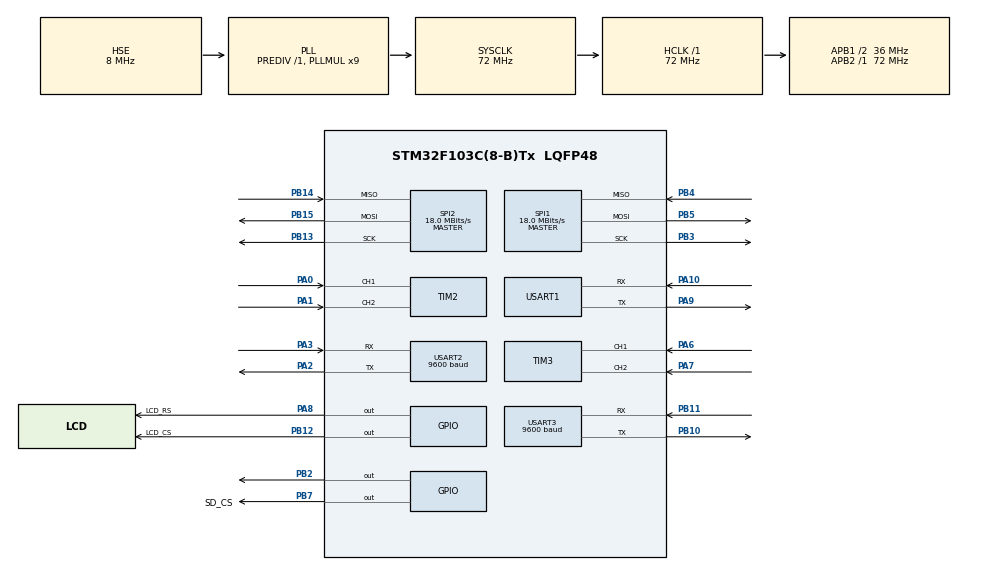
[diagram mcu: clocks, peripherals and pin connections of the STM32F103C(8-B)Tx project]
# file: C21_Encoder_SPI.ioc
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Dma.Request0=USART1_RX
Dma.Request1=USART1_TX
Dma.USART1_RX.0.Direction=DMA_PERIPH_TO_MEMORY
Dma.USART1_RX.0.Instance=DMA1_Channel5
Dma.USART1_RX.0.MemDataAlignment=DMA_MDATAALIGN_BYTE
Dma.USART1_RX.0.MemInc=DMA_MINC_ENABLE
Dma.USART1_RX.0.Mode=DMA_NORMAL
Dma.USART1_RX.0.PeriphDataAlignment=DMA_PDATAALIGN_BYTE
Dma.USART1_RX.0.PeriphInc=DMA_PINC_DISABLE
Dma.USART1_RX.0.Priority=DMA_PRIORITY_LOW
Dma.USART1_TX.1.Direction=DMA_MEMORY_TO_PERIPH
Dma.USART1_TX.1.Instance=DMA1_Channel4
Dma.USART1_TX.1.MemDataAlignment=DMA_MDATAALIGN_BYTE
Dma.USART1_TX.1.MemInc=DMA_MINC_ENABLE
Dma.USART1_TX.1.Mode=DMA_NORMAL
Dma.USART1_TX.1.PeriphDataAlignment=DMA_PDATAALIGN_BYTE
Dma.USART1_TX.1.PeriphInc=DMA_PINC_DISABLE
Dma.USART1_TX.1.Priority=DMA_PRIORITY_LOW
FATFS._FS_TINY=1
FATFS._MAX_SS=4096
FATFS._USE_LFN=1
Mcu.Family=STM32F1
Mcu.Name=STM32F103C(8-B)Tx
Mcu.Package=LQFP48
NVIC.DMA1_Channel4_IRQn=true\:0\:0\:false\:false\:true\:false\:true
NVIC.DMA1_Channel5_IRQn=true\:0\:0\:false\:false\:true\:false\:true
NVIC.PriorityGroup=NVIC_PRIORITYGROUP_4
NVIC.USART2_IRQn=true\:0\:0\:false\:false\:true\:true\:true
NVIC.USART3_IRQn=true\:0\:0\:false\:false\:true\:true\:true
PA0-WKUP.Signal=S_TIM2_CH1_ETR
PA1.Signal=S_TIM2_CH2
PA10.Mode=Asynchronous
PA10.Signal=USART1_RX
PA13.Mode=Serial_Wire
PA13.Signal=SYS_JTMS-SWDIO
PA14.Mode=Serial_Wire
PA14.Signal=SYS_JTCK-SWCLK
PA2.Mode=Asynchronous
PA2.Signal=USART2_TX
PA3.Mode=Asynchronous
PA3.Signal=USART2_RX
PA6.Signal=S_TIM3_CH1
PA7.Signal=S_TIM3_CH2
PA8.GPIO_Label=LCD_RS
PA8.Signal=GPIO_Output
PA9.Mode=Asynchronous
PA9.Signal=USART1_TX
PB10.Mode=Asynchronous
PB10.Signal=USART3_TX
PB11.Mode=Asynchronous
PB11.Signal=USART3_RX
PB12.GPIO_Label=LCD_CS
PB12.Signal=GPIO_Output
PB13.Mode=Full_Duplex_Master
PB13.Signal=SPI2_SCK
PB14.Mode=Full_Duplex_Master
PB14.Signal=SPI2_MISO
PB15.Mode=Full_Duplex_Master
PB15.Signal=SPI2_MOSI
PB2.Signal=GPIO_Output
PB3.Mode=Full_Duplex_Master
PB3.Signal=SPI1_SCK
PB4.Mode=Full_Duplex_Master
PB4.Signal=SPI1_MISO
PB5.Mode=Full_Duplex_Master
PB5.Signal=SPI1_MOSI
PB7.GPIO_Label=SD_CS
PB7.Signal=GPIO_Output
PD0-OSC_IN.Mode=HSE-External-Oscillator
PD0-OSC_IN.Signal=RCC_OSC_IN
PD1-OSC_OUT.Mode=HSE-External-Oscillator
PD1-OSC_OUT.Signal=RCC_OSC_OUT
ProjectManager.HeapSize=0x200
ProjectManager.StackSize=0x400
ProjectManager.TargetToolchain=STM32CubeIDE
RCC.AHBFreq_Value=72000000
RCC.APB1CLKDivider=RCC_HCLK_DIV2
RCC.APB1Freq_Value=36000000
RCC.APB1TimFreq_Value=72000000
RCC.APB2Freq_Value=72000000
RCC.APB2TimFreq_Value=72000000
RCC.HCLKFreq_Value=72000000
RCC.PLLMUL=RCC_PLL_MUL9
RCC.PLLSourceVirtual=RCC_PLLSOURCE_HSE
RCC.SYSCLKFreq_VALUE=72000000
RCC.SYSCLKSource=RCC_SYSCLKSOURCE_PLLCLK
RCC.USBFreq_Value=72000000
SH.S_TIM2_CH1_ETR.0=TIM2_CH1,Encoder_Interface
SH.S_TIM2_CH2.0=TIM2_CH2,Encoder_Interface
SH.S_TIM3_CH1.0=TIM3_CH1,Encoder_Interface
SH.S_TIM3_CH2.0=TIM3_CH2,Encoder_Interface
SPI1.BaudRatePrescaler=SPI_BAUDRATEPRESCALER_4
SPI1.CalculateBaudRate=18.0 MBits/s
SPI1.Direction=SPI_DIRECTION_2LINES
SPI1.Mode=SPI_MODE_MASTER
SPI1.VirtualType=VM_MASTER
SPI2.CalculateBaudRate=18.0 MBits/s
SPI2.Direction=SPI_DIRECTION_2LINES
SPI2.Mode=SPI_MODE_MASTER
SPI2.VirtualType=VM_MASTER
USART1.VirtualMode=VM_ASYNC
USART2.BaudRate=9600
USART2.VirtualMode=VM_ASYNC
USART3.BaudRate=9600
USART3.VirtualMode=VM_ASYNC
VP_FATFS_VS_Generic.Mode=User_defined
board=custom

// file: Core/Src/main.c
/* USER CODE BEGIN Header */
/**
  ******************************************************************************
  * @file           : main.c
  * @brief          : Main program body
  ******************************************************************************
  * @attention
  *
  * <h2><center>&copy; Copyright (c) 2021 STMicroelectronics.
  * All rights reserved.</center></h2>
  *
  * This software component is licensed by ST under Ultimate Liberty license
  * SLA0044, the "License"; You may not use this file except in compliance with
  * the License. You may obtain a copy of the License at:
  *                             www.st.com/SLA0044
  *
  ******************************************************************************
  */
/* USER CODE END Header */
#include "main.h"
#include "fatfs.h"

/* USER CODE BEGIN Includes */
#include "gps.h"
#include "uart_dma.h"
/* USER CODE END Includes */

SPI_HandleTypeDef hspi1;
SPI_HandleTypeDef hspi2;

TIM_HandleTypeDef htim2;
TIM_HandleTypeDef htim3;

UART_HandleTypeDef huart1;
UART_HandleTypeDef huart2;
UART_HandleTypeDef huart3;
DMA_HandleTypeDef hdma_usart1_rx;
DMA_HandleTypeDef hdma_usart1_tx;

/* USER CODE BEGIN PV */
uint8_t i2c_slave_buffer[10];
/* USER CODE END PV */

void SystemClock_Config(void);
static void MX_GPIO_Init(void);
static void MX_DMA_Init(void);
static void MX_SPI2_Init(void);
static void MX_SPI1_Init(void);
static void MX_TIM3_Init(void);
static void MX_USART2_UART_Init(void);
static void MX_TIM2_Init(void);
static void MX_USART3_UART_Init(void);
static void MX_USART1_UART_Init(void);

/* USER CODE BEGIN 0 */
char Rx_indx,Rx_indx1, Rx_data[2], Rx_Buffer[100], location[100],Rx_data1[1], Rx_Buffer1[100],Transfer_cplt;
char* c = "OK";
uint8_t start;
char test[100];
char delim[] = ",";
volatile GPS gps;

void HAL_UART_RxCpltCallback(UART_HandleTypeDef *huart)
{
    uint8_t i;
    if (huart->Instance == USART2)  //current UART
        {
        if (Rx_indx==0) {for (i=0;i<100;i++) Rx_Buffer[i]=0;}   //clear Rx_Buffer before receiving new data

        if (Rx_data[0]!=10) //if received data different from ascii 13 (enter)
            {
            Rx_Buffer[Rx_indx++]=Rx_data[0];    //add data to Rx_Buffer
            }
        else            //if received data = 13
            {
        	//Rx_Buffer[Rx_indx++] = 13;
            Rx_indx=0;
            char * t = "\n";
            Transfer_cplt=1;//transfer complete, data is ready to read

            process_NMEA(&gps,Rx_Buffer);
//            UARTAddToTxBuff("helllo\n",7);
        	char buffer[35];
        	char temp[15];

        	float Lat = gps.Lat_Deg + gps.Lat_Minute/100.0;
        	float Lon = gps.Lon_Deg + gps.Lon_Minute/100.0;

//        	printf("Hello\n");

            }

          //activate UART receive interrupt every time
        }
    HAL_GPIO_TogglePin(GPIOB,GPIO_PIN_12);
//    HAL_UART_Transmit(&huart3,(uint8_t*)"hello",100,100);
    HAL_UART_Receive_IT(&huart2, (uint8_t *) Rx_data, 1);

}
void float2Bytes(float val,uint8_t * bytes_array){
  // Create union of shared memory space
  union {
    float float_variable;
    uint8_t temp_array[4];
  } u;
  // Overite bytes of union with float variable
  u.float_variable = val;
  // Assign bytes to input array
  memcpy(bytes_array, u.temp_array, 4);
}
float bytes2Float(uint8_t * bytes_array){
  // Create union of shared memory space
  union {
    float float_variable;
    uint8_t temp_array[4];
  } u;
  for(uint8_t i = 0; i<4; i++){
	  u.temp_array[i] = bytes_array[i];
  }
  return   u.float_variable;
}
void cpstr(uint8_t* dst, char src[4], uint8_t start){
//   uint8_t len = strlen(src);
   uint8_t j =0;
//   if(len + start > strlen(dst))return;
   for(uint8_t i = start; i <start + 4; i++){
	   dst[i] = src[j];
	   j++;
   }
}

uint32_t sum_array(char temp[4]){
	uint32_t sum = 0;
//   if(len + start > strlen(dst))return;
   for(uint8_t i = 0; i < 4; i++){
       sum += temp[i];
   }
   return sum;
}
void advance_print_general(float* data, int length){
	uint8_t buffer[4*length + 3];
	uint8_t temp[4];
	uint32_t temp_crc = 0;
	uint8_t crc = 0;
    uint8_t i = 0;
    for(int count = 0; count < length; count++){
		float2Bytes(data[count],temp);

		cpstr(buffer, temp, i);
		i += 4;
		if(i > 12){
		    temp_crc += temp[3];
		}
    }

    crc = temp_crc % 37;
    buffer[24] = crc;
    buffer[25] = '\n';

    crc = 0;
	HAL_UART_Transmit(&huart3,(uint8_t*) buffer, strlen(buffer),1000);
}

/* USER CODE END 0 */

int main(void)
{

  /* MCU Configuration--------------------------------------------------------*/

  /* Reset of all peripherals, Initializes the Flash interface and the Systick. */
  HAL_Init();

  /* Configure the system clock */
  SystemClock_Config();

  /* Initialize all configured peripherals */
  MX_GPIO_Init();
  MX_DMA_Init();
  MX_SPI2_Init();
  MX_SPI1_Init();
  MX_FATFS_Init();
  MX_TIM3_Init();
  MX_USART2_UART_Init();
  MX_TIM2_Init();
  MX_USART3_UART_Init();
  MX_USART1_UART_Init();
  /* USER CODE BEGIN 2 */
  HAL_TIM_Encoder_Start(&htim3, TIM_CHANNEL_ALL);
  HAL_TIM_Encoder_Start(&htim2, TIM_CHANNEL_ALL);

  HAL_UART_Receive_IT(&huart3, (uint8_t *) Rx_data, 1);
  HAL_UART_Receive_IT(&huart2, (uint8_t *) Rx_data, 1);
  /* USER CODE END 2 */

  /* Infinite loop */
  while (1)
  {

    /* USER CODE BEGIN 3 */
//	  UARTAddToTxBuff("helllo\n",7);
	  HAL_UART_Transmit(&huart1,(uint8_t*) "helllo\n",7,100);
      int enc1 =	  TIM3->CNT;
      int enc2 =	  TIM2->CNT;
      HAL_Delay(100);
  }
  /* USER CODE END 3 */
}

void SystemClock_Config(void)
{
  RCC_OscInitTypeDef RCC_OscInitStruct = {0};
  RCC_ClkInitTypeDef RCC_ClkInitStruct = {0};

  /** Initializes the RCC Oscillators according to the specified parameters
  * in the RCC_OscInitTypeDef structure.
  */
  RCC_OscInitStruct.OscillatorType = RCC_OSCILLATORTYPE_HSE;
  RCC_OscInitStruct.HSEState = RCC_HSE_ON;
  RCC_OscInitStruct.HSEPredivValue = RCC_HSE_PREDIV_DIV1;
  RCC_OscInitStruct.HSIState = RCC_HSI_ON;
  RCC_OscInitStruct.PLL.PLLState = RCC_PLL_ON;
  RCC_OscInitStruct.PLL.PLLSource = RCC_PLLSOURCE_HSE;
  RCC_OscInitStruct.PLL.PLLMUL = RCC_PLL_MUL9;
  if (HAL_RCC_OscConfig(&RCC_OscInitStruct) != HAL_OK)
  {
    Error_Handler();
  }
  /** Initializes the CPU, AHB and APB buses clocks
  */
  RCC_ClkInitStruct.ClockType = RCC_CLOCKTYPE_HCLK|RCC_CLOCKTYPE_SYSCLK
                              |RCC_CLOCKTYPE_PCLK1|RCC_CLOCKTYPE_PCLK2;
  RCC_ClkInitStruct.SYSCLKSource = RCC_SYSCLKSOURCE_PLLCLK;
  RCC_ClkInitStruct.AHBCLKDivider = RCC_SYSCLK_DIV1;
  RCC_ClkInitStruct.APB1CLKDivider = RCC_HCLK_DIV2;
  RCC_ClkInitStruct.APB2CLKDivider = RCC_HCLK_DIV1;

  if (HAL_RCC_ClockConfig(&RCC_ClkInitStruct, FLASH_LATENCY_2) != HAL_OK)
  {
    Error_Handler();
  }
}

static void MX_SPI1_Init(void)
{

  /* SPI1 parameter configuration*/
  hspi1.Instance = SPI1;
  hspi1.Init.Mode = SPI_MODE_MASTER;
  hspi1.Init.Direction = SPI_DIRECTION_2LINES;
  hspi1.Init.DataSize = SPI_DATASIZE_8BIT;
  hspi1.Init.CLKPolarity = SPI_POLARITY_LOW;
  hspi1.Init.CLKPhase = SPI_PHASE_1EDGE;
  hspi1.Init.NSS = SPI_NSS_SOFT;
  hspi1.Init.BaudRatePrescaler = SPI_BAUDRATEPRESCALER_4;
  hspi1.Init.FirstBit = SPI_FIRSTBIT_MSB;
  hspi1.Init.TIMode = SPI_TIMODE_DISABLE;
  hspi1.Init.CRCCalculation = SPI_CRCCALCULATION_DISABLE;
  hspi1.Init.CRCPolynomial = 10;
  if (HAL_SPI_Init(&hspi1) != HAL_OK)
  {
    Error_Handler();
  }

}

static void MX_SPI2_Init(void)
{

  /* SPI2 parameter configuration*/
  hspi2.Instance = SPI2;
  hspi2.Init.Mode = SPI_MODE_MASTER;
  hspi2.Init.Direction = SPI_DIRECTION_2LINES;
  hspi2.Init.DataSize = SPI_DATASIZE_8BIT;
  hspi2.Init.CLKPolarity = SPI_POLARITY_LOW;
  hspi2.Init.CLKPhase = SPI_PHASE_1EDGE;
  hspi2.Init.NSS = SPI_NSS_SOFT;
  hspi2.Init.BaudRatePrescaler = SPI_BAUDRATEPRESCALER_2;
  hspi2.Init.FirstBit = SPI_FIRSTBIT_MSB;
  hspi2.Init.TIMode = SPI_TIMODE_DISABLE;
  hspi2.Init.CRCCalculation = SPI_CRCCALCULATION_DISABLE;
  hspi2.Init.CRCPolynomial = 10;
  if (HAL_SPI_Init(&hspi2) != HAL_OK)
  {
    Error_Handler();
  }

}

static void MX_TIM2_Init(void)
{

  TIM_Encoder_InitTypeDef sConfig = {0};
  TIM_MasterConfigTypeDef sMasterConfig = {0};

  htim2.Instance = TIM2;
  htim2.Init.Prescaler = 0;
  htim2.Init.CounterMode = TIM_COUNTERMODE_UP;
  htim2.Init.Period = 65535;
  htim2.Init.ClockDivision = TIM_CLOCKDIVISION_DIV1;
  htim2.Init.AutoReloadPreload = TIM_AUTORELOAD_PRELOAD_DISABLE;
  sConfig.EncoderMode = TIM_ENCODERMODE_TI1;
  sConfig.IC1Polarity = TIM_ICPOLARITY_RISING;
  sConfig.IC1Selection = TIM_ICSELECTION_DIRECTTI;
  sConfig.IC1Prescaler = TIM_ICPSC_DIV1;
  sConfig.IC1Filter = 0;
  sConfig.IC2Polarity = TIM_ICPOLARITY_RISING;
  sConfig.IC2Selection = TIM_ICSELECTION_DIRECTTI;
  sConfig.IC2Prescaler = TIM_ICPSC_DIV1;
  sConfig.IC2Filter = 0;
  if (HAL_TIM_Encoder_Init(&htim2, &sConfig) != HAL_OK)
  {
    Error_Handler();
  }
  sMasterConfig.MasterOutputTrigger = TIM_TRGO_RESET;
  sMasterConfig.MasterSlaveMode = TIM_MASTERSLAVEMODE_DISABLE;
  if (HAL_TIMEx_MasterConfigSynchronization(&htim2, &sMasterConfig) != HAL_OK)
  {
    Error_Handler();
  }

}

static void MX_TIM3_Init(void)
{

  TIM_Encoder_InitTypeDef sConfig = {0};
  TIM_MasterConfigTypeDef sMasterConfig = {0};

  htim3.Instance = TIM3;
  htim3.Init.Prescaler = 0;
  htim3.Init.CounterMode = TIM_COUNTERMODE_UP;
  htim3.Init.Period = 65535;
  htim3.Init.ClockDivision = TIM_CLOCKDIVISION_DIV1;
  htim3.Init.AutoReloadPreload = TIM_AUTORELOAD_PRELOAD_DISABLE;
  sConfig.EncoderMode = TIM_ENCODERMODE_TI1;
  sConfig.IC1Polarity = TIM_ICPOLARITY_RISING;
  sConfig.IC1Selection = TIM_ICSELECTION_DIRECTTI;
  sConfig.IC1Prescaler = TIM_ICPSC_DIV1;
  sConfig.IC1Filter = 0;
  sConfig.IC2Polarity = TIM_ICPOLARITY_RISING;
  sConfig.IC2Selection = TIM_ICSELECTION_DIRECTTI;
  sConfig.IC2Prescaler = TIM_ICPSC_DIV1;
  sConfig.IC2Filter = 0;
  if (HAL_TIM_Encoder_Init(&htim3, &sConfig) != HAL_OK)
  {
    Error_Handler();
  }
  sMasterConfig.MasterOutputTrigger = TIM_TRGO_RESET;
  sMasterConfig.MasterSlaveMode = TIM_MASTERSLAVEMODE_DISABLE;
  if (HAL_TIMEx_MasterConfigSynchronization(&htim3, &sMasterConfig) != HAL_OK)
  {
    Error_Handler();
  }

}

static void MX_USART1_UART_Init(void)
{

  huart1.Instance = USART1;
  huart1.Init.BaudRate = 115200;
  huart1.Init.WordLength = UART_WORDLENGTH_8B;
  huart1.Init.StopBits = UART_STOPBITS_1;
  huart1.Init.Parity = UART_PARITY_NONE;
  huart1.Init.Mode = UART_MODE_TX_RX;
  huart1.Init.HwFlowCtl = UART_HWCONTROL_NONE;
  huart1.Init.OverSampling = UART_OVERSAMPLING_16;
  if (HAL_UART_Init(&huart1) != HAL_OK)
  {
    Error_Handler();
  }

}

static void MX_USART2_UART_Init(void)
{

  huart2.Instance = USART2;
  huart2.Init.BaudRate = 9600;
  huart2.Init.WordLength = UART_WORDLENGTH_8B;
  huart2.Init.StopBits = UART_STOPBITS_1;
  huart2.Init.Parity = UART_PARITY_NONE;
  huart2.Init.Mode = UART_MODE_TX_RX;
  huart2.Init.HwFlowCtl = UART_HWCONTROL_NONE;
  huart2.Init.OverSampling = UART_OVERSAMPLING_16;
  if (HAL_UART_Init(&huart2) != HAL_OK)
  {
    Error_Handler();
  }

}

static void MX_USART3_UART_Init(void)
{

  huart3.Instance = USART3;
  huart3.Init.BaudRate = 9600;
  huart3.Init.WordLength = UART_WORDLENGTH_8B;
  huart3.Init.StopBits = UART_STOPBITS_1;
  huart3.Init.Parity = UART_PARITY_NONE;
  huart3.Init.Mode = UART_MODE_TX_RX;
  huart3.Init.HwFlowCtl = UART_HWCONTROL_NONE;
  huart3.Init.OverSampling = UART_OVERSAMPLING_16;
  if (HAL_UART_Init(&huart3) != HAL_OK)
  {
    Error_Handler();
  }

}

static void MX_DMA_Init(void)
{

  /* DMA controller clock enable */
  __HAL_RCC_DMA1_CLK_ENABLE();

  /* DMA interrupt init */
  /* DMA1_Channel4_IRQn interrupt configuration */
  HAL_NVIC_SetPriority(DMA1_Channel4_IRQn, 0, 0);
  HAL_NVIC_EnableIRQ(DMA1_Channel4_IRQn);
  /* DMA1_Channel5_IRQn interrupt configuration */
  HAL_NVIC_SetPriority(DMA1_Channel5_IRQn, 0, 0);
  HAL_NVIC_EnableIRQ(DMA1_Channel5_IRQn);

}

static void MX_GPIO_Init(void)
{
  GPIO_InitTypeDef GPIO_InitStruct = {0};

  /* GPIO Ports Clock Enable */
  __HAL_RCC_GPIOD_CLK_ENABLE();
  __HAL_RCC_GPIOA_CLK_ENABLE();
  __HAL_RCC_GPIOB_CLK_ENABLE();

  /*Configure GPIO pin Output Level */
  HAL_GPIO_WritePin(GPIOB, GPIO_PIN_2|LCD_CS_Pin|SD_CS_Pin, GPIO_PIN_RESET);

  /*Configure GPIO pin Output Level */
  HAL_GPIO_WritePin(LCD_RS_GPIO_Port, LCD_RS_Pin, GPIO_PIN_RESET);

  /*Configure GPIO pins : PB2 LCD_CS_Pin SD_CS_Pin */
  GPIO_InitStruct.Pin = GPIO_PIN_2|LCD_CS_Pin|SD_CS_Pin;
  GPIO_InitStruct.Mode = GPIO_MODE_OUTPUT_PP;
  GPIO_InitStruct.Pull = GPIO_NOPULL;
  GPIO_InitStruct.Speed = GPIO_SPEED_FREQ_LOW;
  HAL_GPIO_Init(GPIOB, &GPIO_InitStruct);

  /*Configure GPIO pin : LCD_RS_Pin */
  GPIO_InitStruct.Pin = LCD_RS_Pin;
  GPIO_InitStruct.Mode = GPIO_MODE_OUTPUT_PP;
  GPIO_InitStruct.Pull = GPIO_NOPULL;
  GPIO_InitStruct.Speed = GPIO_SPEED_FREQ_LOW;
  HAL_GPIO_Init(LCD_RS_GPIO_Port, &GPIO_InitStruct);

}

void Error_Handler(void)
{
  __disable_irq();
  while (1)
  {
  }
}

/************************ (C) COPYRIGHT STMicroelectronics *****END OF FILE****/
